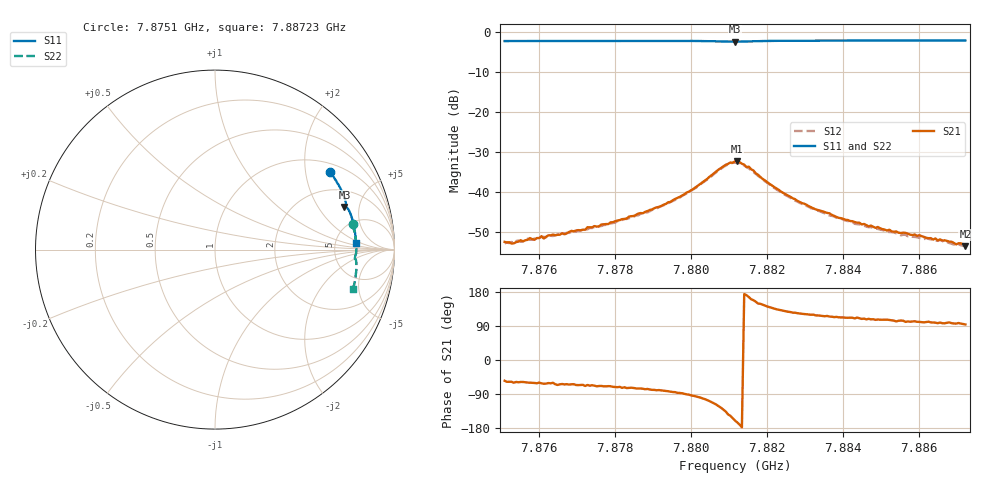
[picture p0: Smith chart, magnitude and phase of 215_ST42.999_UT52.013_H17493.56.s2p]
#  HZ  S  DB  R  50.00
! Rohde & Schwarz Vector Network Analyzer
! Rohde-Schwarz,ZNB20-2Port,1311601062101988,3.16
! Created: UTC 1/12/2023, 6:45:24 PM
! freq[Hz]  db:S11  ang:S11  db:S21  ang:S21  db:S12  ang:S12  db:S22  ang:S22
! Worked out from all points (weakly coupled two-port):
!   201 points, 7.8751 GHz to 7.88723 GHz, reference 50 ohm
!   highest |S21| = -32.22 dB at 7.88123 GHz (marker M1); lowest = -53.5 dB at 7.88723 GHz (marker M2)
!   lowest |S11| = -2.4 dB at 7.88117 GHz (marker M3), VSWR 7.31, Z = 158 + j177 ohm
!   |S11| at or under -10 dB: nowhere
!   |S22| runs from -2.3 to -1.9 dB; largest |S21 - S12| = 0.0023
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7.875101e9  -2.23 34.2  -52.40 -54.8  -52.81 -61.8  -2.17 10.4
7.875344e9  -2.23 33.6  -52.76 -60.0  -52.64 -61.5  -2.16 9.8
7.875768e9  -2.23 32.4  -51.46 -59.8  -51.89 -62.4  -2.15 8.9
7.87589e9  -2.22 32.1  -51.89 -60.6  -51.56 -64.3  -2.14 8.6
7.876072e9  -2.22 31.6  -50.98 -61.7  -51.19 -63.1  -2.13 8.1
7.876132e9  -2.22 31.4  -51.57 -62.7  -51.14 -65.7  -2.13 8.0
7.876254e9  -2.21 31.1  -50.78 -60.9  -50.90 -64.4  -2.13 7.7
7.877164e9  -2.20 28.6  -49.37 -65.6  -49.31 -68.7  -2.11 5.6
7.878013e9  -2.19 26.3  -47.25 -71.3  -47.59 -74.4  -2.09 3.6
7.879165e9  -2.18 23.1  -43.66 -79.3  -43.77 -83.6  -2.07 0.9
7.879954e9  -2.19 20.8  -39.86 -91.4  -40.00 -95.1  -2.08 -1.1
7.880863e9  -2.34 18.3  -33.50 -131.2  -33.69 -134.9  -2.21 -3.3
7.881167e9  -2.39 18.2  -32.30 -159.7  -32.60 -163.4  -2.28 -3.2
7.881227e9  -2.39 18.3  -32.22 -164.9  -32.65 -169.5  -2.28 -3.2
7.881531e9  -2.31 18.1  -33.62 166.1  -34.07 162.7  -2.20 -3.2
7.88238e9  -2.17 15.7  -39.88 131.3  -40.03 127.6  -2.04 -5.1
7.883229e9  -2.13 13.3  -43.99 119.8  -44.08 115.5  -2.00 -7.2
7.884685e9  -2.11 9.4  -48.55 108.7  -48.75 104.2  -1.97 -10.5
7.88523e9  -2.10 7.9  -49.38 105.7  -49.96 101.0  -1.96 -11.7
7.886989e9  -2.08 3.3  -53.03 96.0  -52.86 93.4  -1.95 -15.5
7.887111e9  -2.08 3.0  -52.77 96.1  -53.27 95.1  -1.94 -15.8
7.887232e9  -2.08 2.7  -53.49 93.9  -53.22 93.2  -1.94 -16.1
